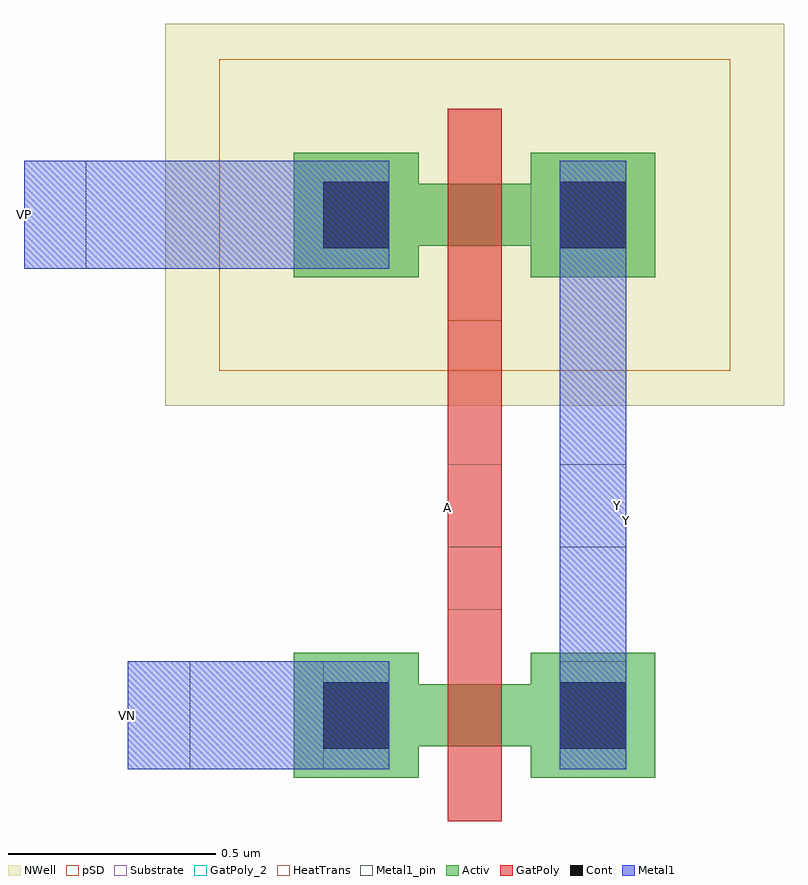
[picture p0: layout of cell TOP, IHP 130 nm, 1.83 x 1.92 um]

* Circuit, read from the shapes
.subckt TOP A VN VP Y
XM1 Y A VN VSUBS sg13_lv_nmos w=0.15u l=0.13u
XM2 Y A VP n1 sg13_lv_pmos w=0.15u l=0.13u
.ends

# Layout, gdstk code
import gdstk
lib = gdstk.Library(unit=1e-6, precision=5e-09)
def R(c, l, rs):  # rectangles x0, y0, x1, y1
    for r in rs: c.add(gdstk.rectangle(r[:2], r[2:], *l))
Activ = (1, 0)
GatPoly = (5, 0)
GatPoly_2 = (5, 2)
Cont = (6, 0)
Metal1 = (8, 0)
Metal1_pin = (8, 2)
pSD = (14, 0)
NWell = (31, 0)
Substrate = (40, 0)
HeatTrans = (51, 0)

nmos = lib.new_cell('nmos')
R(nmos, Activ, [(0,0,0.3,0.3), (0.57,0,0.87,0.3), (0,0.075,0.87,0.225)])
R(nmos, GatPoly, [(0.37,-0.105,0.5,0.405)])
R(nmos, GatPoly_2, [(0.37,-0.105,0.5,0.405)])
R(nmos, Cont, [(0.07,0.07,0.23,0.23), (0.64,0.07,0.8,0.23)])
R(nmos, Metal1, [(0.07,0.02,0.23,0.28), (0.64,0.02,0.8,0.28)])
R(nmos, Metal1_pin, [(0.07,0.02,0.23,0.28), (0.64,0.02,0.8,0.28)])
R(nmos, HeatTrans, [(0.37,-0.105,0.5,0.405)])
nmos.add(gdstk.Label('nmos', (0.435,0.15), layer=63, texttype=0))
nmos.add(gdstk.Label('nmos', (0.435,0.15), layer=51, texttype=0))

pmos = lib.new_cell('pmos')
R(pmos, Activ, [(0,0,0.3,0.3), (0.57,0,0.87,0.3), (0,0.075,0.87,0.225)])
R(pmos, GatPoly, [(0.37,-0.105,0.5,0.405), (0.37,-0.105,0.5,0.405)])
R(pmos, Cont, [(0.07,0.07,0.23,0.23), (0.64,0.07,0.8,0.23)])
R(pmos, Metal1, [(0.07,0.02,0.23,0.28), (0.07,0.02,0.23,0.28), (0.64,0.02,0.8,0.28), (0.64,0.02,0.8,0.28)])
R(pmos, pSD, [(-0.18,-0.225,1.05,0.525)])
R(pmos, NWell, [(-0.31,-0.31,1.18,0.61)])
R(pmos, Substrate, [(0.57,0,0.87,0.3)])
R(pmos, HeatTrans, [(0.37,-0.105,0.5,0.405)])
pmos.add(gdstk.Label('pmos', (0.435,0.15), layer=63, texttype=0))
pmos.add(gdstk.Label('pmos', (0.435,0.15), layer=51, texttype=0))

top = lib.new_cell('TOP')
R(top, GatPoly, [(0.37,-0.8,0.5,-0.105)])
R(top, GatPoly_2, [(0.37,-0.65,0.5,-0.45)])
R(top, Metal1, [(-0.4,-1.185,0.07,-0.925), (0.64,-0.925,0.8,0.02), (-0.65,0.02,0.07,0.28)])
R(top, Metal1_pin, [(-0.4,-1.185,-0.25,-0.925), (0.64,-0.65,0.8,-0.45), (-0.65,0.02,-0.5,0.28)])
top.add(gdstk.Reference(nmos, (0,-1.205)))
top.add(gdstk.Reference(pmos, (0,0)))
top.add(gdstk.Label('Y', (0.78,-0.55), layer=8, texttype=2))
top.add(gdstk.Label('VP', (-0.65,0.15), layer=8, texttype=2))
top.add(gdstk.Label('VN', (-0.4,-1.055), layer=8, texttype=2))
top.add(gdstk.Label('Y', (0.8,-0.585), layer=8, texttype=2))
top.add(gdstk.Label('A', (0.37,-0.555), layer=5, texttype=2))

lib.write_gds('TOP.gds')
